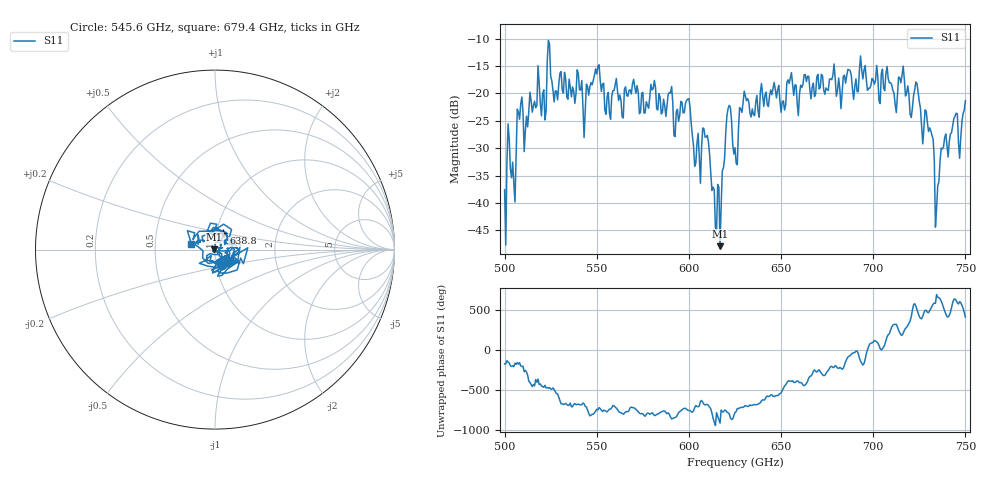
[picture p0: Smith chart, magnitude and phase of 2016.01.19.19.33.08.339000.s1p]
!Created with skrf (http://scikit-rf.org).
# GHz S RI R 50.0
!freq ReS11 ImS11
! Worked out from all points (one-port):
!   401 points, 500 GHz to 750 GHz, reference 50 ohm
!   lowest |S11| = -47.9 dB at 616.9 GHz (marker M1), VSWR 1.01, Z = 49.6 + j0.073 ohm
!   |S11| at or under -10 dB: start of sweep to end of sweep
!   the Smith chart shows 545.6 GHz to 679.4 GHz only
!   S11 on the Smith chart (normalised r, x): 545.6 GHz: 1.06, -0.19; 638.8 GHz: 1.08, +0.20; 679.4 GHz: 0.76, +0.05
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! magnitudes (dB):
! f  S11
! 500 GHz  -37.6
! 502.5 GHz  -28.3
! 505 GHz  -36.5
! 508.1 GHz  -24.7
! 521.2 GHz  -19.3
! 524.4 GHz  -11.0
! 527.5 GHz  -19.5
! 531.2 GHz  -19.3
! 545.6 GHz  -20.3
! 562.5 GHz  -20.3
! 593.8 GHz  -22.9
! 599.4 GHz  -21.0
! 605 GHz  -27.3
! 608.8 GHz  -28.0
! 613.8 GHz  -37.6
! 616.9 GHz  -47.9
! 621.2 GHz  -22.8
! 625 GHz  -29.9
! 628.8 GHz  -23.5
! 638.8 GHz  -19.7
! 656.2 GHz  -18.4
! 679.4 GHz  -17.3
! 687.5 GHz  -15.8
! 718.8 GHz  -18.6
! 729.4 GHz  -25.3
! 735 GHz  -36.9
! 738.1 GHz  -29.8
! 750 GHz  -21.3
